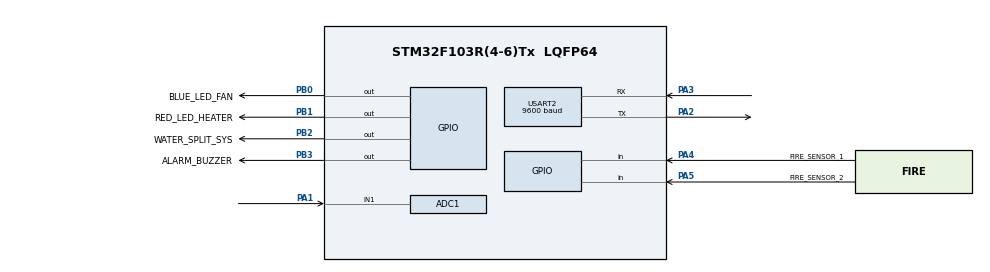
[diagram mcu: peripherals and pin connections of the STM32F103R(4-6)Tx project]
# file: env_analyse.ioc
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ADC1.Channel-0\#ChannelRegularConversion=ADC_CHANNEL_1
ADC1.ContinuousConvMode=ENABLE
ADC1.NbrOfConversionFlag=1
ADC1.Rank-0\#ChannelRegularConversion=1
ADC1.SamplingTime-0\#ChannelRegularConversion=ADC_SAMPLETIME_1CYCLE_5
ADC1.master=1
Mcu.Family=STM32F1
Mcu.Name=STM32F103R(4-6)Tx
Mcu.Package=LQFP64
NVIC.PriorityGroup=NVIC_PRIORITYGROUP_4
PA1.Signal=ADCx_IN1
PA2.Mode=Asynchronous
PA2.Signal=USART2_TX
PA3.Mode=Asynchronous
PA3.Signal=USART2_RX
PA4.GPIO_Label=FIRE_SENSOR_1
PA4.GPIO_PuPd=GPIO_PULLDOWN
PA4.Signal=GPIO_Input
PA5.GPIO_Label=FIRE_SENSOR_2
PA5.GPIO_PuPd=GPIO_PULLDOWN
PA5.Signal=GPIO_Input
PB0.GPIO_Label=BLUE_LED_FAN
PB0.Signal=GPIO_Output
PB1.GPIO_Label=RED_LED_HEATER
PB1.Signal=GPIO_Output
PB2.GPIO_Label=WATER_SPLIT_SYS
PB2.Signal=GPIO_Output
PB3.GPIO_Label=ALARM_BUZZER
PB3.Signal=GPIO_Output
PC14-OSC32_IN.Mode=LSE-External-Oscillator
PC14-OSC32_IN.Signal=RCC_OSC32_IN
PC15-OSC32_OUT.Mode=LSE-External-Oscillator
PC15-OSC32_OUT.Signal=RCC_OSC32_OUT
PD0-OSC_IN.Mode=HSE-External-Clock-Source
PD0-OSC_IN.Signal=RCC_OSC_IN
PD1-OSC_OUT.Mode=HSE-External-Clock-Source
PD1-OSC_OUT.Signal=RCC_OSC_OUT
ProjectManager.HeapSize=0x200
ProjectManager.StackSize=0x400
ProjectManager.TargetToolchain=STM32CubeIDE
RCC.APB1Freq_Value=8000000
RCC.APB2Freq_Value=8000000
SH.ADCx_IN1.0=ADC1_IN1,IN1
USART2.BaudRate=9600
USART2.VirtualMode=VM_ASYNC
VP_SYS_VS_ND.Mode=No_Debug
board=custom

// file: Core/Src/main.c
/* USER CODE BEGIN Header */
/**
  ******************************************************************************
  * @file           : main.c
  * @brief          : Main program body
  ******************************************************************************
  * @attention
  *
  * Copyright (c) 2026 STMicroelectronics.
  * All rights reserved.
  *
  * This software is licensed under terms that can be found in the LICENSE file
  * in the root directory of this software component.
  * If no LICENSE file comes with this software, it is provided AS-IS.
  *
  ******************************************************************************
  */
/* USER CODE END Header */
#include "main.h"
#include "adc.h"
#include "usart.h"
#include "gpio.h"

/* USER CODE BEGIN Includes */
#include <stdio.h>
#include <string.h>
/* USER CODE END Includes */

/* USER CODE BEGIN PTD */
#define BUFFER_SIZE 10
#define ALARM_HOLD_TIME_MS 5000 // 5 seconds lock-out

typedef enum {
    SYSTEM_IDLE = 0,
    SYSTEM_COOLING,  // Fan Active
    SYSTEM_HEATING   // Heater Active
} SystemState_t;

typedef struct {
    float buffer[BUFFER_SIZE];
    int index;
    int is_populated;
    float target_temp;
    float tolerance_percent;
    SystemState_t state;

    // --- Fire System Additions ---
    int fire_detected;         // Flag if active fire is present right now
    int alarm_locked;           // Flag if alarm is active (including safety cool-down)
    uint32_t fire_clear_tick;   // Timestamp tracking when the fire cleared
} SystemController_t;

// Modular Function Prototypes
void System_Init(SystemController_t *sys, float target, float tolerance);
float System_UpdateAverage(SystemController_t *sys, float new_temp);
void System_ProcessClimate(SystemController_t *sys, float avg_temp);
void System_ProcessFire(SystemController_t *sys);
void System_DisplayStatus(float avg_temp, SystemController_t *sys);
float Read_Temperature(void);
/* USER CODE END PTD */

/* USER CODE BEGIN PV */
SystemController_t mySystem;
/* USER CODE END PV */

void SystemClock_Config(void);

/* USER CODE BEGIN 0 */
uint32_t adc_val1 = 0;

/* USER CODE END 0 */

int main(void)
{

  /* MCU Configuration--------------------------------------------------------*/

  /* Reset of all peripherals, Initializes the Flash interface and the Systick. */
  HAL_Init();

  /* Configure the system clock */
  SystemClock_Config();

  /* Initialize all configured peripherals */
  MX_GPIO_Init();
  MX_ADC1_Init();
  MX_USART2_UART_Init();
  /* USER CODE BEGIN 2 */
  System_Init(&mySystem, 26.0f, 20.0f);
  /* USER CODE END 2 */

  /* Infinite loop */
  while (1)
  {

    /* USER CODE BEGIN 3 */
	  System_ProcessFire(&mySystem);
	  float current_temp = Read_Temperature();
	  float avg_temp = System_UpdateAverage(&mySystem, current_temp);
	  System_ProcessClimate(&mySystem, avg_temp);

	        // 3. Telemetry Output
	  System_DisplayStatus(avg_temp, &mySystem);

	        // 500ms cadence balances fast fire checking and clean terminal printing
	  HAL_Delay(500);
  }
  /* USER CODE END 3 */
}

void SystemClock_Config(void)
{
  RCC_OscInitTypeDef RCC_OscInitStruct = {0};
  RCC_ClkInitTypeDef RCC_ClkInitStruct = {0};
  RCC_PeriphCLKInitTypeDef PeriphClkInit = {0};

  /** Initializes the RCC Oscillators according to the specified parameters
  * in the RCC_OscInitTypeDef structure.
  */
  RCC_OscInitStruct.OscillatorType = RCC_OSCILLATORTYPE_HSI;
  RCC_OscInitStruct.HSIState = RCC_HSI_ON;
  RCC_OscInitStruct.HSICalibrationValue = RCC_HSICALIBRATION_DEFAULT;
  RCC_OscInitStruct.PLL.PLLState = RCC_PLL_NONE;
  if (HAL_RCC_OscConfig(&RCC_OscInitStruct) != HAL_OK)
  {
    Error_Handler();
  }

  /** Initializes the CPU, AHB and APB buses clocks
  */
  RCC_ClkInitStruct.ClockType = RCC_CLOCKTYPE_HCLK|RCC_CLOCKTYPE_SYSCLK
                              |RCC_CLOCKTYPE_PCLK1|RCC_CLOCKTYPE_PCLK2;
  RCC_ClkInitStruct.SYSCLKSource = RCC_SYSCLKSOURCE_HSI;
  RCC_ClkInitStruct.AHBCLKDivider = RCC_SYSCLK_DIV1;
  RCC_ClkInitStruct.APB1CLKDivider = RCC_HCLK_DIV1;
  RCC_ClkInitStruct.APB2CLKDivider = RCC_HCLK_DIV1;

  if (HAL_RCC_ClockConfig(&RCC_ClkInitStruct, FLASH_LATENCY_0) != HAL_OK)
  {
    Error_Handler();
  }
  PeriphClkInit.PeriphClockSelection = RCC_PERIPHCLK_ADC;
  PeriphClkInit.AdcClockSelection = RCC_ADCPCLK2_DIV2;
  if (HAL_RCCEx_PeriphCLKConfig(&PeriphClkInit) != HAL_OK)
  {
    Error_Handler();
  }
}

/* USER CODE BEGIN 4 */

void System_Init(SystemController_t *sys, float target, float tolerance) {
    memset(sys->buffer, 0, sizeof(sys->buffer));
    sys->index = 0;
    sys->is_populated = 0;
    sys->target_temp = target;
    sys->tolerance_percent = tolerance;
    sys->state = SYSTEM_IDLE;
    sys->fire_detected = 0;
    sys->alarm_locked = 0;
    sys->fire_clear_tick = 0;
}

/**
  * @brief  Multiplexes and processes the fire sensor data alongside lock timers.
  */
void System_ProcessFire(SystemController_t *sys) {
    // Multiplexing check: sequentially read both inputs instantly
    GPIO_PinState s1 = HAL_GPIO_ReadPin(FIRE_SENSOR_1_GPIO_Port, FIRE_SENSOR_1_Pin);
    GPIO_PinState s2 = HAL_GPIO_ReadPin(FIRE_SENSOR_2_GPIO_Port, FIRE_SENSOR_2_Pin);

    // Active high sensor configuration logic
    if (s1 == GPIO_PIN_SET || s2 == GPIO_PIN_SET) {
        if (!sys->fire_detected) {
            sys->fire_detected = 1;
            sys->alarm_locked = 1;
        }
    } else {
        // Fire just stopped right now
        if (sys->fire_detected) {
            sys->fire_detected = 0;
            sys->fire_clear_tick = HAL_GetTick(); // Capture time of clearance
        }
    }

    // Lock Evaluation: If fire is clear, check if 5 seconds have elapsed
    if (!sys->fire_detected && sys->alarm_locked) {
        if ((HAL_GetTick() - sys->fire_clear_tick) >= ALARM_HOLD_TIME_MS) {
            sys->alarm_locked = 0; // Safe to unlock system
        }
    }

    // Actuate Safety Hardware
    if (sys->alarm_locked) {
        HAL_GPIO_WritePin(WATER_SPLIT_SYS_GPIO_Port, WATER_SPLIT_SYS_Pin, GPIO_PIN_SET);
        HAL_GPIO_WritePin(ALARM_BUZZER_GPIO_Port, ALARM_BUZZER_Pin, GPIO_PIN_SET);
    } else {
        HAL_GPIO_WritePin(WATER_SPLIT_SYS_GPIO_Port, WATER_SPLIT_SYS_Pin, GPIO_PIN_RESET);
        HAL_GPIO_WritePin(ALARM_BUZZER_GPIO_Port, ALARM_BUZZER_Pin, GPIO_PIN_RESET);
    }
}

void System_ProcessClimate(SystemController_t *sys, float avg_temp) {
    // If the room is currently on fire, override normal fan/heater logic
    if (sys->alarm_locked) {
        HAL_GPIO_WritePin(BLUE_LED_FAN_GPIO_Port, BLUE_LED_FAN_Pin, GPIO_PIN_RESET);
        HAL_GPIO_WritePin(RED_LED_HEATER_GPIO_Port, RED_LED_HEATER_Pin, GPIO_PIN_RESET);
        return;
    }

    float variance = sys->target_temp * (sys->tolerance_percent / 100.0f);
    float upper_threshold = sys->target_temp + variance;
    float lower_threshold = sys->target_temp - variance;

    if (avg_temp > upper_threshold) {
        sys->state = SYSTEM_COOLING;
        HAL_GPIO_WritePin(BLUE_LED_FAN_GPIO_Port, BLUE_LED_FAN_Pin, GPIO_PIN_SET);
        HAL_GPIO_WritePin(RED_LED_HEATER_GPIO_Port, RED_LED_HEATER_Pin, GPIO_PIN_RESET);
    }
    else if (avg_temp < lower_threshold) {
        sys->state = SYSTEM_HEATING;
        HAL_GPIO_WritePin(BLUE_LED_FAN_GPIO_Port, BLUE_LED_FAN_Pin, GPIO_PIN_RESET);
        HAL_GPIO_WritePin(RED_LED_HEATER_GPIO_Port, RED_LED_HEATER_Pin, GPIO_PIN_SET);
    }
    else {
        sys->state = SYSTEM_IDLE;
        HAL_GPIO_WritePin(BLUE_LED_FAN_GPIO_Port, BLUE_LED_FAN_Pin, GPIO_PIN_RESET);
        HAL_GPIO_WritePin(RED_LED_HEATER_GPIO_Port, RED_LED_HEATER_Pin, GPIO_PIN_RESET);
    }
}

float System_UpdateAverage(SystemController_t *sys, float new_temp) {
    sys->buffer[sys->index] = new_temp;
    sys->index = (sys->index + 1) % BUFFER_SIZE;
    if (sys->index == 0) sys->is_populated = 1;

    int items = sys->is_populated ? BUFFER_SIZE : sys->index;
    if (items == 0) return new_temp;

    float sum = 0.0f;
    for (int i = 0; i < items; i++) sum += sys->buffer[i];
    return sum / items;
}

void System_DisplayStatus(float avg_temp, SystemController_t *sys) {
    char terminal_msg[128];

    char safety_str[32];
    if (sys->fire_detected) {
        strcpy(safety_str, "CRITICAL FIRE!!");
    } else if (sys->alarm_locked) {
        uint32_t elapsed = HAL_GetTick() - sys->fire_clear_tick;
        long remaining = (ALARM_HOLD_TIME_MS - elapsed) / 1000;
        if (remaining < 0) remaining = 0;
        snprintf(safety_str, sizeof(safety_str), "LOCK-ON COOLING (%lds)", remaining);
    } else {
        strcpy(safety_str, "SECURE");
    }

    const char* climate_str = (sys->state == SYSTEM_COOLING) ? "COOLING" :
                              (sys->state == SYSTEM_HEATING) ? "HEATING" : "NORMAL";

    snprintf(terminal_msg, sizeof(terminal_msg),
             "Avg Temp: %.2f C | Climate: %s | Safety State: %s\r\n",
             avg_temp, climate_str, safety_str);

    HAL_UART_Transmit(&huart2, (uint8_t*)terminal_msg, strlen(terminal_msg), HAL_MAX_DELAY);
}

float Read_Temperature(void) {
    HAL_ADC_Start(&hadc1);
    HAL_ADC_PollForConversion(&hadc1, HAL_MAX_DELAY);
    uint32_t raw_adc = HAL_ADC_GetValue(&hadc1);
    float voltage = (raw_adc * 3.3f) / 4096.0f;
    return (voltage - 0.5f) * 100.0f;
}

/* USER CODE END 4 */

void Error_Handler(void)
{
  __disable_irq();
  while (1)
  {
  }
}
